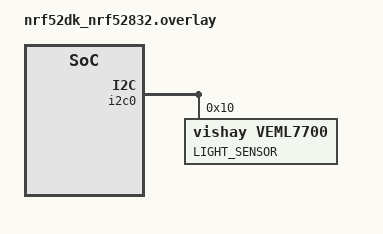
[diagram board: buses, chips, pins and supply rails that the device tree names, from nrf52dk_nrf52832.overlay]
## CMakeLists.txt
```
cmake_minimum_required(VERSION 3.20.0)
find_package(Zephyr REQUIRED HINTS $ENV{ZEPHYR_BASE})

project(BLE_light_sensor)

target_sources(app PRIVATE src/main.c)
```

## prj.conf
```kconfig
#
# Copyright (c) 2018 Nordic Semiconductor
#
# SPDX-License-Identifier: LicenseRef-Nordic-5-Clause
#

# Logger module
CONFIG_LOG=y

# Bluetooth LE
CONFIG_BT=y

# I2C config:
CONFIG_I2C=y
CONFIG_SENSOR=y
CONFIG_VEML7700=y

# Battery
CONFIG_ADC=y
CONFIG_ADC_NRFX_SAADC=y

# keep a stable, non-rotating identity address
CONFIG_BT_DEVICE_NAME="ls_prokid"
CONFIG_BT_PRIVACY=n


# Increase stack size for the main thread and System Workqueue
CONFIG_SYSTEM_WORKQUEUE_STACK_SIZE=2048
CONFIG_MAIN_STACK_SIZE=2048
```

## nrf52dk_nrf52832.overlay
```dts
// To get started, press Ctrl+Space (or Option+Esc) to bring up the completion menu and view the available nodes.

// You can also use the buttons in the sidebar to perform actions on nodes.
// Actions currently available include:

// * Enabling / disabling the node
// * Adding the bus to a bus
// * Removing the node
// * Connecting ADC channels

// For more help, browse the DeviceTree documentation at https://docs.zephyrproject.org/latest/guides/dts/index.html
// You can also visit the nRF DeviceTree extension documentation at https://docs.nordicsemi.com/bundle/nrf-connect-vscode/page/guides/ncs_configure_app.html#devicetree-support-in-the-extension
&i2c0 {
    status = "okay";
    light_sensor: veml7700@10 {
        compatible = "vishay,veml7700"; /*driver for veml7700 */
        reg = <0x10>;
        label = "LIGHT_SENSOR";


        /* probably wont be needing this if i manually turn off and on the sensor
        psm-mode = <0x07>; /*Sets the power saving mode. Current is 4, lowest power mode
        */
    };
};
```

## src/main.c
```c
#include <zephyr/kernel.h>
#include <zephyr/logging/log.h>
#include <zephyr/bluetooth/bluetooth.h>
#include <zephyr/bluetooth/gap.h>
#include <zephyr/sys/util.h>
#include <zephyr/drivers/i2c.h>
#include <zephyr/drivers/sensor.h>
#include <zephyr/drivers/sensor/veml7700.h>
#include <zephyr/drivers/adc.h>
#include <hal/nrf_saadc.h>


/*Device Parameters*/
#define LOOP_TIME 5     /*in seconds*/
#define ITTIME 100      /*in millisecond*/

/*BLE Flags*/
#define UUID 0xFCD2
#define BTHOME_FLAG 0x020106
#define DEVICE_INFO 0x40
#define BATTERY_ID 0x01
#define ILLUMENCE_ID 0x05

LOG_MODULE_REGISTER(main);  /*log module register*/


__packed typedef struct bthome_data{     /*This creates the struct for the payload. Using a struct allows for dynamic allocation of lux and battery data*/                   
        uint16_t uuid;          /*packs the data together so no weird padding from structs happens*/
        uint8_t device_info;
        uint8_t lux_id;
        uint8_t lux[3]; /*gotta build it myself since spec wants 3 bytes but no def for uint24 :(*/
        uint8_t battery_id;
        uint8_t battery;
} BTHOME_DATA ;




static const struct bt_le_adv_param *adv_param =
	BT_LE_ADV_PARAM(BT_LE_ADV_OPT_USE_NAME | BT_LE_ADV_OPT_USE_IDENTITY, /* No options specified */
			8000, /* Min Advertising Interval 5s (n*0.625ms) */
			16000, /* Max Advertising Interval 10s (n*0.625ms) */
			NULL); /* Set to NULL for undirected advertising */


static BTHOME_DATA bthome_data = { /*creates bthome payload*/
        .uuid = UUID,
        .device_info = DEVICE_INFO,
        .lux_id = ILLUMENCE_ID,
        .lux = {0,0,0}, /*starts with the default initalizer*/
        .battery_id = BATTERY_ID,
        .battery = 0x00
 };


static const struct bt_data ad[] = { 
        BT_DATA_BYTES(BT_DATA_FLAGS, BT_LE_AD_GENERAL | BT_LE_AD_NO_BREDR), /*contains flag marker, as well as LE General Discoverable Mode and traditional BT not supported. BTHOME_FLAG*/
        BT_DATA(BT_DATA_SVC_DATA16, &bthome_data, sizeof(BTHOME_DATA)) /*Includes the complete data part of packet*/
};




/*Hardware Section*/
#define LIGHT_SENSOR_NODE DT_NODELABEL(light_sensor)

/*Zephyr API device object*/
const struct device *const lux_sensor = DEVICE_DT_GET(LIGHT_SENSOR_NODE);

/*Manual I2C bit change object*/
static const struct i2c_dt_spec lux_sensor_i2c = I2C_DT_SPEC_GET(LIGHT_SENSOR_NODE);


#define CONFIG_REGISTER 0x00
/*Configeration number*/
static uint16_t config_reg;

/*Writes to I2C. To use, send in the 16 bit modified reg as val*/
static int write_data16(uint8_t reg, uint16_t val) {

        uint8_t tx[3] = { reg, (uint8_t)(val & 0xFF), (uint8_t)(val >> 8) };
        return i2c_write_dt(&lux_sensor_i2c, tx, sizeof tx);
}

/*Read from I2C to out*/
static int read_data16(uint8_t reg, uint16_t *out) {
    uint8_t rx[2];
    int err = i2c_write_read_dt(&lux_sensor_i2c, &reg, 1, rx, 2);
    if (err) return err;

    *out = (uint16_t)rx[0] | ((uint16_t)rx[1] << 8);  // LSB first
    return 0;
}

/*shuts down the sensor*/
static void shutdown_sensor() {
        int config = config_reg | 0x0001; /*Changes last bit (the shutdown bit) to 1, which shuts down the sensor*/
        if (!(write_data16(CONFIG_REGISTER, config))) {
                /*if successful, it will sync global conf.*/
                config_reg = config;
        }
        else {
                LOG_ERR("Write data error / shutdown_sensor\n");
        }
}

/*starts the sensor*/
static void start_sensor() {
        int config = config_reg & ~0x0001; /*Changes last bit (the shutdown bit) to 1, which shuts down the sensor*/
        if (!(write_data16(CONFIG_REGISTER, config))) {
                /*if successful, it will sync global conf.*/
                config_reg = config;
                k_sleep(K_MSEC(3)); /*Waits >2.5ms after start per spec*/
                k_sleep(K_MSEC(ITTIME + 50));
        }
        else {
                LOG_ERR("Write data error / start_sensor\n");
        }
}

/*Initalizes light sensor*/
static int init_light_sensor() {
/*Currently, the ALS_GAIN is set to x2 and ALS_IT is at 100ms. This yields*/
        
        if (!device_is_ready(lux_sensor)) {
                LOG_ERR("lux_sensor is not ready\n");
                return -1;
        }

        struct sensor_value params;

        /*ALS_IT init*/
        params.val1 = VEML7700_ALS_IT_100; /*Sets ALS_IT (scanning duration) to 200ms*/
        params.val2 = 0;

        int err = sensor_attr_set(lux_sensor, SENSOR_CHAN_LIGHT, SENSOR_ATTR_VEML7700_ITIME, &params);
        
        if (err) {
                LOG_ERR("ALS_IT set error\n");
                return -1;
        }
        else {

        }

        /*ALS_GAIN init*/
        params.val1 = VEML7700_ALS_GAIN_2;
        params.val2 = 0;

        err = sensor_attr_set(lux_sensor, SENSOR_CHAN_LIGHT, SENSOR_ATTR_VEML7700_GAIN, &params);

        if (err) {
                LOG_ERR("GAIN set error\n");
                return -1;
        }
        
        if (read_data16(CONFIG_REGISTER, &config_reg)) {
                LOG_ERR("Config init fail, i2c read error\n");
                return -1;
        }
        LOG_INF("VEML7700 config set, Gain = x2, IT = 200ms");
        return 0;
}




static void update_lux() {
        struct sensor_value lux;

        /*prepares sensor for data retrival*/
        int err = sensor_sample_fetch(lux_sensor);
        if (err) {
                LOG_ERR("Sensor fetch error\n");
                return;
        }

        /*saves light to lux*/
        if (!sensor_channel_get(lux_sensor, SENSOR_CHAN_LIGHT, &lux)) {
                LOG_ERR("Sensor read error\n");
                return;
        }

        /*Converts outputted lux value to microlux*/
        int64_t ulux = (int64_t)lux.val1 * 1000000LL + lux.val2;
        if (ulux < 0) {
                /*Prevents any negative numbers*/
                ulux = 0;
        }
        /*Convert to centilux which is what the BTHome protocol calls for*/
        uint32_t clux = (uint32_t)((ulux + 5000) / 10000);
        /*Clamps to 24 bit*/
        if (clux > 0xFFFFFF) {clux = 0xFFFFFF;}


        /*Time to pack into bluetooth packet*/
        bthome_data.lux[0] = (uint8_t) clux; /*Last nibble. With the typecast, it only saves the last 8 bits*/
        bthome_data.lux[1] = (uint8_t) (clux >> 8); /*Middle nibble*/
        bthome_data.lux[2] = (uint8_t) (clux >> 16); /*Final nibble*/
}


/*Battery Implementation*/
#define ADC_NODE DT_NODELABEL(adc) 
#define VBAT_ADC_CHAN_ID   0
#define VBAT_SAMPLES       8                      /* average N reads */
#define ADC_RESOLUTION     12                     /* 12‑bit */
#define ADC_MAX            ((1 << ADC_RESOLUTION) - 1)
static const struct device *adc_dev;

static int battery_adc_init() {
        adc_dev = DEVICE_DT_GET(ADC_NODE);
        if (!device_is_ready(adc_dev)) {
                LOG_ERR("ADC Battery device not ready\n");
                return -1;
        }

    struct adc_channel_cfg ch_cfg = {
        .gain             = ADC_GAIN_1_6,
        .reference        = ADC_REF_INTERNAL,
        .acquisition_time = ADC_ACQ_TIME_DEFAULT,
        .channel_id       = VBAT_ADC_CHAN_ID,
        /* nRF-specific: read internal supply via VDD/4 */
        .input_positive   = NRF_SAADC_INPUT_VDD,
    };

    return adc_channel_setup(adc_dev, &ch_cfg);
}


static int read_battery_mv(int *mv_out) {
        int16_t sample = 0;

        const struct adc_sequence seq = {
        .channels    = BIT(VBAT_ADC_CHAN_ID),
        .buffer      = &sample,
        .buffer_size = sizeof(sample),
        .resolution  = ADC_RESOLUTION,
    };

    int err = adc_read(adc_dev, &seq);
    if (err) {
        LOG_ERR("Battery read error code: %d", err);
        return -1;
    }
    int32_t mv = ((int32_t)sample * 3600 * 4) / ADC_MAX;
    *mv_out = mv;
    return 0;

}

static uint8_t vbat_percent_from_mv(int mv)
{
    if (mv >= 3000) return 100;
    if (mv <= 2300) return 0;
    /* quick linear segments; refine later */
    if (mv >= 2850) return 80 + (mv - 2850) * 20 / 150;   // 2850–3000 → 80–100
    if (mv >= 2700) return 50 + (mv - 2700) * 30 / 150;   // 2700–2850 → 50–80
    if (mv >= 2550) return 20 + (mv - 2550) * 30 / 150;   // 2550–2700 → 20–50
    if (mv >= 2400) return 5  + (mv - 2400) * 15 / 150;   // 2400–2550 → 5–20
    return (uint8_t)((mv - 2300) * 5 / 100);              // 2300–2400 → 0–5
}

static void update_battery() {
        int mv = 0;
        if (read_battery_mv(&mv) == 0) {
                bthome_data.battery = vbat_percent_from_mv(mv);
        }
        else {
                bthome_data.battery = 0xff; /*unknown or couldn't read*/
        }
}

static void update_ad() {
        bt_le_adv_update_data(ad, ARRAY_SIZE(ad), NULL, 0); /*updates the advertisment*/
}

int main(void)
{
        int err;

        /*initalizes the light sensor.*/
        if (init_light_sensor()) {
                return -1;
        }
        /*initalizes battery reader*/
        if (battery_adc_init()) {
                return -1;
        }
        err = bt_enable(NULL); /*initalized bluetooth*/
	if (err) {
		LOG_ERR("Bluetooth init failed (err %d)\n", err);
		return -1;
	}

	LOG_INF("Bluetooth initialized\n");

        err = bt_le_adv_start(adv_param, ad, ARRAY_SIZE(ad), NULL, 0); /*starts the advertising. the NULL and 0 repersent the scan packets, which we don't have since this is purely advertising*/
	if (err) {
		LOG_ERR("Advertising failed to start (err %d)\n", err);
		return -1;
	}
        LOG_INF("Starting up broadcasting loop.\n");
        while (1) {
                start_sensor(); /*starts sensor*/
                update_lux(); /*updates the lux value*/
                update_battery(); /*updates the battery value*/
                update_ad(); /*pushes the new info to the bluetooth broadcast*/
                shutdown_sensor(); /**/
                k_sleep(K_SECONDS(LOOP_TIME)); /*Sleeps for 5 seconds*/
        }

        return 0;
}
```
